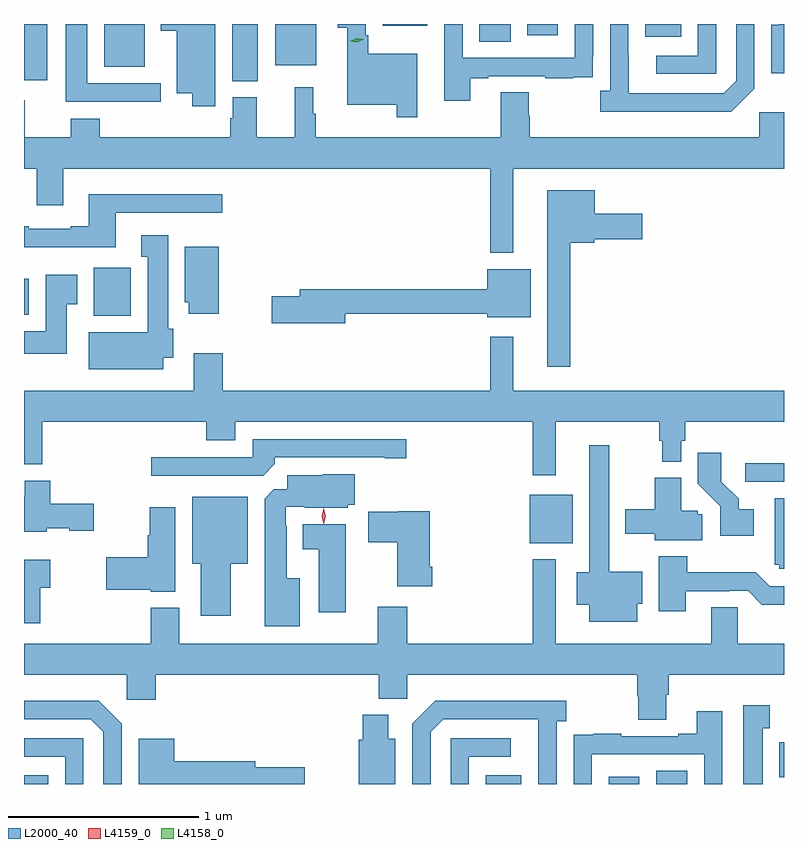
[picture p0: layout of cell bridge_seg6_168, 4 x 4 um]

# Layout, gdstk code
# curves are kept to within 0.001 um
import gdstk
lib = gdstk.Library(unit=1e-6, precision=1e-09)
def R(c, l, rs):  # rectangles x0, y0, x1, y1
    for r in rs: c.add(gdstk.rectangle(r[:2], r[2:], *l))
def P(c, l, *ps):  # polygons
    for p in ps: c.add(gdstk.Polygon(p, *l))
L2000_40 = (2000, 40)
L4158_0 = (4158, 0)
L4159_0 = (4159, 0)

bridge_seg6_168 = lib.new_cell('bridge_seg6_168')
R(bridge_seg6_168, L2000_40, [(122.963,972.069,123.091,972.115), (125.393,972.069,125.581,972.115), (126.041,972.069,126.202,972.106), (126.29,972.069,126.454,972.14), (126.938,972.104,126.963,972.289), (125.624,973.337,125.851,973.591), (126.759,973.659,126.963,973.758), (123.329,974.534,123.525,974.785), (122.963,974.54,122.989,974.728), (124.058,975.769,124.192,976.069), (122.963,975.773,123.085,976.069), (123.386,975.845,123.598,976.069), (124.286,975.851,124.501,976.069), (125.36,975.976,125.524,976.069), (126.233,976.001,126.421,976.069), (125.612,976.011,125.773,976.069), (124.85,976.061,125.086,976.069)])
P(bridge_seg6_168, L2000_40, [(126.807,975.729),(126.807,976.069),(126.711,976.069),(126.711,975.771),(126.645,975.705),(126.145,975.705),(126.144,976.069),(126.048,976.069),(126.048,975.718),(125.997,975.718),(125.997,975.608),(126.686,975.608)],
  [(125.311,975.783),(125.407,975.783),(125.407,975.795),(125.707,975.795),(125.707,975.783),(125.855,975.783),(125.855,975.789),(125.957,975.789),(125.957,975.898),(125.958,975.898),(125.958,976.069),(125.862,976.069),(125.862,975.891),(125.271,975.891),(125.271,976.069),(125.175,976.069),(125.175,975.888),(125.174,975.888),(125.174,975.666),(125.311,975.666)],
  [(126.606,976.069),(126.51,976.069),(126.51,975.903),(126.291,975.903),(126.291,975.807),(126.606,975.807)],
  [(123.97,976.069),(123.683,976.069),(123.683,976.034),(123.767,976.034),(123.767,975.704),(123.848,975.704),(123.848,975.636),(123.97,975.636)],
  [(125.034,975.913),(124.774,975.913),(124.774,976.009),(124.761,976.009),(124.761,976.069),(124.613,976.069),(124.613,976.049),(124.664,976.049),(124.664,975.644),(124.926,975.644),(124.926,975.579),(125.034,975.579)],
  [(126.963,976.069),(126.938,976.069),(126.938,976.066),(126.896,976.066),(126.896,975.809),(126.963,975.809)],
  [(123.682,975.756),(123.295,975.756),(123.295,976.069),(123.182,976.069),(123.182,975.659),(123.682,975.659)],
  [(125.539,975.308),(126.963,975.308),(126.963,975.604),(126.834,975.604),(126.834,975.472),(125.624,975.472),(125.624,975.585),(125.619,975.585),(125.619,975.71),(125.471,975.71),(125.471,975.472),(124.498,975.472),(124.498,975.596),(124.486,975.596),(124.486,975.736),(124.388,975.736),(124.388,975.472),(124.189,975.472),(124.189,975.684),(124.061,975.684),(124.061,975.573),(124.049,975.573),(124.049,975.472),(123.362,975.472),(123.362,975.571),(123.209,975.571),(123.209,975.472),(122.968,975.472),(122.968,975.667),(122.963,975.667),(122.963,975.308),(123.029,975.308),(123.029,975.114),(123.169,975.114),(123.169,975.308),(125.418,975.308),(125.418,974.864),(125.539,974.864)],
  [(125.839,974.918),(125.964,974.918),(125.964,974.936),(126.217,974.936),(126.217,975.07),(125.968,975.07),(125.968,975.193),(125.717,975.193),(125.717,974.265),(125.839,974.265)],
  [(123.445,975.075),(124.006,975.075),(124.006,975.172),(123.305,975.172),(123.305,975.004),(123.209,975.004),(123.209,974.991),(122.989,974.991),(122.989,975.004),(122.963,975.004),(122.963,974.894),(123.445,974.894)],
  [(123.697,974.312),(123.748,974.312),(123.748,974.466),(123.721,974.466),(123.721,974.956),(123.581,974.956),(123.581,974.843),(123.614,974.843),(123.614,974.446),(123.305,974.446),(123.305,974.252),(123.697,974.252)],
  [(123.988,974.896),(123.809,974.896),(123.809,974.604),(123.83,974.604),(123.83,974.544),(123.988,974.544)],
  [(124.654,974.544),(125.402,974.544),(125.402,974.525),(125.629,974.525),(125.629,974.779),(125.402,974.779),(125.402,974.672),(124.415,974.672),(124.415,974.636),(124.266,974.636),(124.266,974.494),(124.654,974.494)],
  [(123.187,974.593),(123.244,974.593),(123.244,974.749),(123.077,974.749),(123.077,974.452),(122.963,974.452),(122.963,974.334),(123.187,974.334)],
  [(125.761,973.976),(126.307,973.976),(126.307,973.875),(126.322,973.875),(126.322,973.766),(126.423,973.766),(126.423,973.875),(126.443,973.875),(126.443,973.976),(126.963,973.976),(126.963,974.14),(125.539,974.14),(125.539,974.422),(125.418,974.422),(125.418,974.14),(124.01,974.14),(124.01,974.335),(123.857,974.335),(123.857,974.14),(122.963,974.14),(122.963,973.751),(123.059,973.751),(123.059,973.976),(123.923,973.976),(123.923,973.877),(124.075,973.877),(124.075,973.976),(125.64,973.976),(125.64,973.695),(125.761,973.695)],
  [(124.283,973.754),(124.283,973.788),(124.862,973.788),(124.862,973.783),(124.975,973.783),(124.975,973.884),(124.167,973.884),(124.167,973.788),(123.633,973.788),(123.633,973.692),(124.221,973.692)],
  [(126.19,973.017),(126.217,973.017),(126.217,973.186),(126.043,973.186),(126.043,973.852),(125.939,973.852),(125.939,973.184),(125.873,973.184),(125.873,973.013),(125.939,973.013),(125.939,972.923),(126.19,972.923)],
  [(126.805,973.516),(126.724,973.516),(126.724,973.571),(126.634,973.661),(126.634,973.813),(126.508,973.813),(126.508,973.65),(126.627,973.531),(126.627,973.376),(126.805,973.376)],
  [(124.414,973.153),(124.345,973.153),(124.345,973.427),(124.341,973.427),(124.341,973.527),(124.441,973.527),(124.441,973.523),(124.668,973.523),(124.668,973.539),(124.703,973.539),(124.703,973.699),(124.536,973.699),(124.536,973.693),(124.349,973.693),(124.349,973.62),(124.278,973.62),(124.229,973.571),(124.229,972.899),(124.414,972.899)],
  [(126.534,973.488),(126.51,973.488),(126.51,973.506),(126.421,973.506),(126.421,973.681),(126.284,973.681),(126.284,973.515),(126.128,973.515),(126.128,973.385),(126.284,973.385),(126.284,973.352),(126.534,973.352)],
  [(123.084,973.415),(123.201,973.415),(123.201,973.403),(123.331,973.403),(123.331,973.545),(123.101,973.545),(123.101,973.666),(122.966,973.666),(122.966,973.585),(122.963,973.585),(122.963,973.397),(123.084,973.397)],
  [(124.051,973.229),(124.141,973.229),(124.141,973.582),(123.848,973.582),(123.848,973.229),(123.893,973.229),(123.893,972.954),(124.051,972.954)],
  [(126.963,973.573),(126.914,973.573),(126.914,973.224),(126.939,973.224),(126.939,973.203),(126.963,973.203)],
  [(123.76,973.525),(123.626,973.525),(123.626,973.379),(123.614,973.379),(123.614,973.262),(123.396,973.262),(123.396,973.091),(123.63,973.091),(123.63,973.082),(123.76,973.082)],
  [(125.111,973.213),(125.098,973.213),(125.098,973.504),(124.932,973.504),(124.932,973.503),(124.776,973.503),(124.776,973.342),(124.928,973.342),(124.928,973.109),(125.111,973.109)],
  [(124.657,973.435),(124.43,973.435),(124.43,973.304),(124.514,973.304),(124.514,972.972),(124.657,972.972)],
  [(126.445,973.083),(126.674,973.083),(126.674,973.086),(126.774,973.086),(126.847,973.013),(126.963,973.013),(126.963,973.11),(126.888,973.11),(126.815,973.183),(126.453,973.183),(126.453,973.267),(126.305,973.267),(126.305,972.978),(126.445,972.978)],
  [(126.343,972.538),(126.356,972.538),(126.356,972.644),(126.963,972.644),(126.963,972.808),(126.72,972.808),(126.72,972.998),(126.581,972.998),(126.581,972.808),(125.761,972.808),(125.761,973.252),(125.64,973.252),(125.64,972.808),(124.979,972.808),(124.979,973.003),(124.826,973.003),(124.826,972.808),(123.781,972.808),(123.781,972.997),(123.629,972.997),(123.629,972.808),(122.963,972.808),(122.963,972.644),(123.504,972.644),(123.504,972.513),(123.656,972.513),(123.656,972.644),(124.829,972.644),(124.829,972.518),(124.98,972.518),(124.98,972.644),(126.191,972.644),(126.191,972.531),(126.196,972.531),(126.196,972.406),(126.343,972.406)],
  [(123.049,973.102),(123.1,973.102),(123.1,973.249),(122.963,973.249),(122.963,972.915),(123.049,972.915)],
  [(123.477,972.387),(123.356,972.508),(122.963,972.508),(122.963,972.411),(123.315,972.411),(123.381,972.345),(123.381,972.069),(123.477,972.069)],
  [(125.103,972.345),(125.169,972.411),(125.669,972.411),(125.67,972.069),(125.766,972.069),(125.766,972.398),(125.818,972.398),(125.818,972.508),(125.128,972.508),(125.007,972.387),(125.007,972.069),(125.103,972.069)],
  [(126.85,972.363),(126.889,972.363),(126.889,972.484),(126.749,972.484),(126.749,972.069),(126.85,972.069)],
  [(125.952,972.225),(126.543,972.225),(126.543,972.069),(126.639,972.069),(126.639,972.451),(126.503,972.451),(126.503,972.334),(126.407,972.334),(126.407,972.321),(126.107,972.321),(126.107,972.334),(125.959,972.334),(125.959,972.327),(125.857,972.327),(125.857,972.218),(125.856,972.218),(125.856,972.069),(125.952,972.069)],
  [(124.918,972.307),(124.879,972.307),(124.879,972.433),(124.745,972.433),(124.745,972.303),(124.726,972.303),(124.726,972.069),(124.918,972.069)],
  [(123.276,972.309),(122.963,972.309),(122.963,972.213),(123.18,972.213),(123.18,972.069),(123.276,972.069)],
  [(125.304,972.213),(125.524,972.213),(125.524,972.309),(125.208,972.309),(125.208,972.069),(125.304,972.069)],
  [(124.441,972.156),(124.18,972.156),(124.18,972.19),(123.754,972.19),(123.754,972.307),(123.566,972.307),(123.566,972.069),(124.441,972.069)])
P(bridge_seg6_168, L4158_0, [(124.718,975.974),(124.681,975.979),(124.681,975.979),(124.681,975.979),(124.715,975.994),(124.751,975.989),(124.752,975.989),(124.751,975.989)])
P(bridge_seg6_168, L4159_0, [(124.541,973.437),(124.54,973.438),(124.531,973.478),(124.54,973.519),(124.541,973.52),(124.541,973.519),(124.551,973.478),(124.541,973.438)])

lib.write_gds('bridge_seg6_168.gds')
